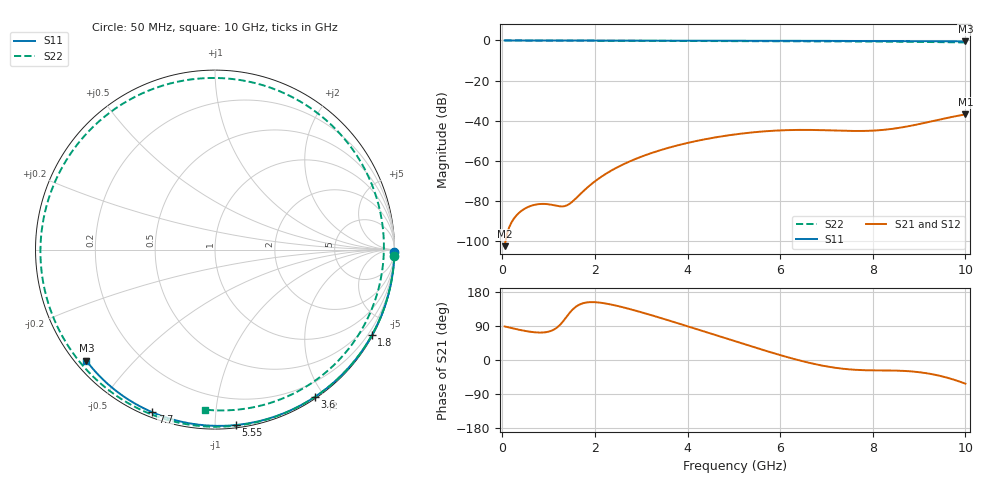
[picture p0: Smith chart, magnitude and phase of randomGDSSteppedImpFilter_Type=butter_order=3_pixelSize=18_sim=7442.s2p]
! freq	dB(S11)	phase(S11)	dB(S12)	phase(S12)
!  dB(S21)	phase(S21)	dB(S22)	phase(S22)
!S-par simulation data
#  GHz  S  DB  R 50
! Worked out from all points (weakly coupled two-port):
!   200 points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, 50 MHz to 10 GHz, reference 50 ohm
!   highest |S21| = -36.89 dB at 10 GHz (marker M1); lowest = -102.6 dB at 50 MHz (marker M2)
!   lowest |S11| = -0.5 dB at 10 GHz (marker M3), VSWR 36.78, Z = 1.55 - j18.6 ohm
!   |S11| at or under -10 dB: nowhere
!   |S22| runs from -1.0 to 0.0 dB; largest |S21 - S12| = 0
!   S11 on the Smith chart (normalised r, x): 50 MHz: open; 1.8 GHz: 0.03, -3.92; 3.6 GHz: 0.02, -1.89; 5.55 GHz: 0.02, -1.12; 7.7 GHz: 0.02, -0.69; 10 GHz: 0.03, -0.37
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0.05  -0.00 -0.8  -102.56 88.6  -102.56 88.6  -0.00 -2.2
0.7  -0.01 -11.2  -81.94 73.1  -81.94 73.1  -0.04 -29.9
1.5  -0.03 -23.9  -80.63 130.8  -80.63 130.8  -0.08 -63.3
1.75  -0.04 -27.8  -75.14 150.0  -75.14 150.0  -0.09 -73.5
1.8  -0.04 -28.6  -74.08 151.4  -74.08 151.4  -0.10 -75.6
2.15  -0.04 -34.0  -67.77 150.7  -67.77 150.7  -0.11 -89.8
2.55  -0.05 -40.2  -62.47 140.8  -62.47 140.8  -0.13 -105.9
3.4  -0.07 -52.9  -54.80 111.6  -54.80 111.6  -0.18 -140.0
3.6  -0.08 -55.9  -53.44 104.2  -53.44 104.2  -0.19 -148.1
4.35  -0.10 -66.7  -49.38 75.6  -49.38 75.6  -0.24 -179.5
5.05  -0.12 -76.5  -46.77 48.6  -46.77 48.6  -0.30 149.1
5.55  -0.14 -83.3  -45.52 29.5  -45.52 29.5  -0.34 125.2
6.15  -0.16 -91.3  -44.71 7.7  -44.71 7.7  -0.38 94.8
6.7  -0.19 -98.5  -44.62 -9.4  -44.62 -9.4  -0.42 65.6
7.25  -0.22 -105.5  -44.95 -21.5  -44.95 -21.5  -0.46 36.1
7.7  -0.25 -111.1  -45.14 -26.3  -45.14 -26.3  -0.50 12.4
8  -0.28 -114.9  -44.96 -27.3  -44.96 -27.3  -0.54 -2.9
8.35  -0.30 -119.2  -44.27 -27.7  -44.27 -27.7  -0.59 -20.3
8.8  -0.34 -124.7  -42.63 -29.8  -42.63 -29.8  -0.68 -41.5
9.2  -0.38 -129.5  -40.69 -35.7  -40.69 -35.7  -0.77 -59.5
9.6  -0.43 -134.4  -38.65 -46.5  -38.65 -46.5  -0.88 -76.9
10  -0.47 -139.2  -36.89 -62.5  -36.89 -62.5  -0.98 -93.7
